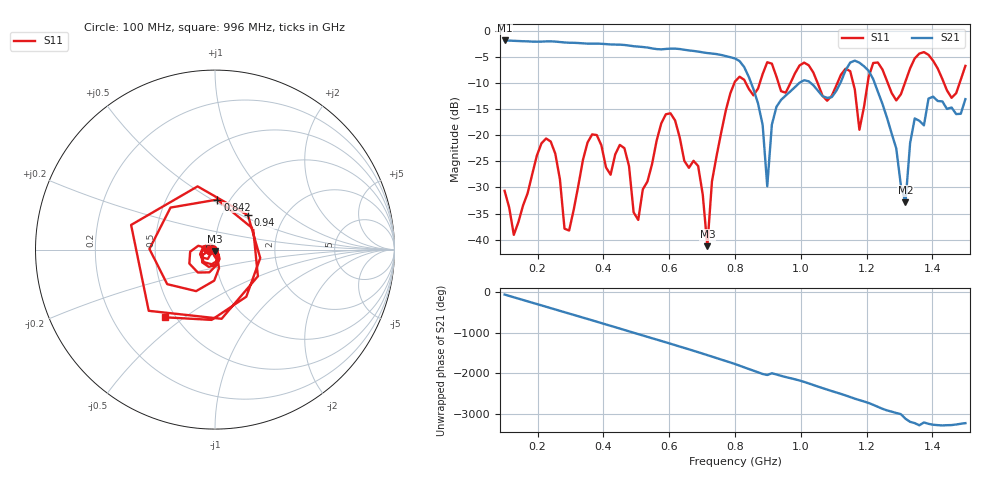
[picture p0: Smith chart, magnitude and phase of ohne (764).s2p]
! NanoVNA-App
! Date: 2025-09-25 14:26:45
! Start: 100MHz Stop: 1,5GHz Points: 101
! S-Parameter data: F S11 S21 S12 S22
# Hz S RI R 50
!  Frequency  S11_Real  S11_Imag  S21_Real  S21_Imag  S12_Real  S12_Imag  S22_Real  S22_Imag
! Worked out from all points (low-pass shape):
!   101 points, 100 MHz to 1.5 GHz, reference 50 ohm
!   highest |S21| = -1.79 dB at 100 MHz (marker M1); lowest = -32.8 dB at 1.318 GHz (marker M2)
!   |S21| within 3 dB of the highest: start of sweep to 771.9 MHz
!   lowest |S11| = -41.3 dB at 716 MHz (marker M3), VSWR 1.02, Z = 49.8 - j0.834 ohm
!   |S11| at or under -10 dB: start of sweep to 797.9 MHz; 833.3 MHz to 875.1 MHz (41.86 MHz wide, 4.9 % of centre); 1.051 GHz to 1.111 GHz (59.6 MHz wide, 5.51 % of centre) (the widest 3 of 7)
!   S12 and S22 are empty: the file has one direction only
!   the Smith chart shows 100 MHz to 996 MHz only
!   S11 on the Smith chart (normalised r, x): 100 MHz: 0.94, -0.01; 842 MHz: 0.88, +0.53; 940 MHz: 1.32, +0.54; 996 MHz: 0.44, -0.43
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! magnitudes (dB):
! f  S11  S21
! 100 MHz  -30.6  -1.8
! 128 MHz  -39.1  -1.9
! 226 MHz  -20.6  -2.0
! 296 MHz  -38.3  -2.2
! 338 MHz  -24.7  -2.3
! 464 MHz  -22.5  -2.7
! 506 MHz  -36.2  -3.0
! 576 MHz  -17.7  -3.5
! 688 MHz  -25.9  -3.9
! 716 MHz  -41.3  -4.2
! 800 MHz  -9.7  -5.3
! 842 MHz  -11.1  -8.8
! 898 MHz  -6.0  -29.8
! 940 MHz  -11.5  -13.2
! 996 MHz  -6.6  -9.9
! 1.038 GHz  -7.9  -10.4
! 1.178 GHz  -18.9  -6.1
! 1.22 GHz  -6.1  -9.2
! 1.276 GHz  -11.9  -19.7
! 1.318 GHz  -9.6  -32.8
! 1.346 GHz  -5.2  -16.8
! 1.5 GHz  -6.7  -13.1
